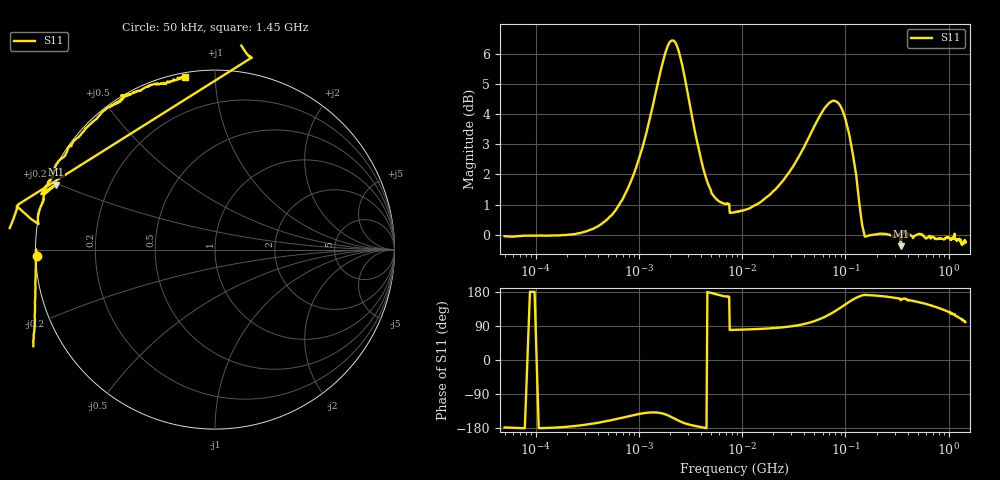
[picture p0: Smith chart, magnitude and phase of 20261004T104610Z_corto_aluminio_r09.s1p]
! piloto_corto / corto_aluminio / r09
# HZ S RI R 50
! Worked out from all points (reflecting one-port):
!   501 points, 50 kHz to 1.45 GHz, reference 50 ohm
!   lowest |S11| = -0.4 dB at 343 MHz (marker M1), VSWR 46.50, Z = 1.12 + j9.81 ohm
!   phase of S11 starts at -178 deg and turns -82 deg over the sweep
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50000  -0.9942 -0.0354
183000  -0.9982 -0.0502
373000  -1.002 -0.2283
658000  -1.012 -0.5029
1180000  -1.12 -0.9595
1630000  -1.441 -1.201
1990000  -1.779 -1.091
2440000  -1.894 -0.6686
2890000  -1.721 -0.3481
3340000  -1.527 -0.1919
4870000  -1.193 0.0449
7300000  -1.097 0.2504
7750000  0.2015 1.069
8560000  0.1962 1.073
3.16e7  0.00258 1.305
4.78e7  -0.2794 1.463
6.76e7  -0.7702 1.453
7.93e7  -1.043 1.298
9.37e7  -1.26 0.9973
9.82e7  -1.293 0.8899
1e8  -1.302 0.8499
1.18e8  -1.272 0.4773
1.36e8  -1.103 0.2416
1.63e8  -0.9845 0.1485
3.43e8  -0.8868 0.362
4.06e8  -0.913 0.3963
9.55e8  -0.6241 0.769
1.45e9  -0.1682 0.9592
